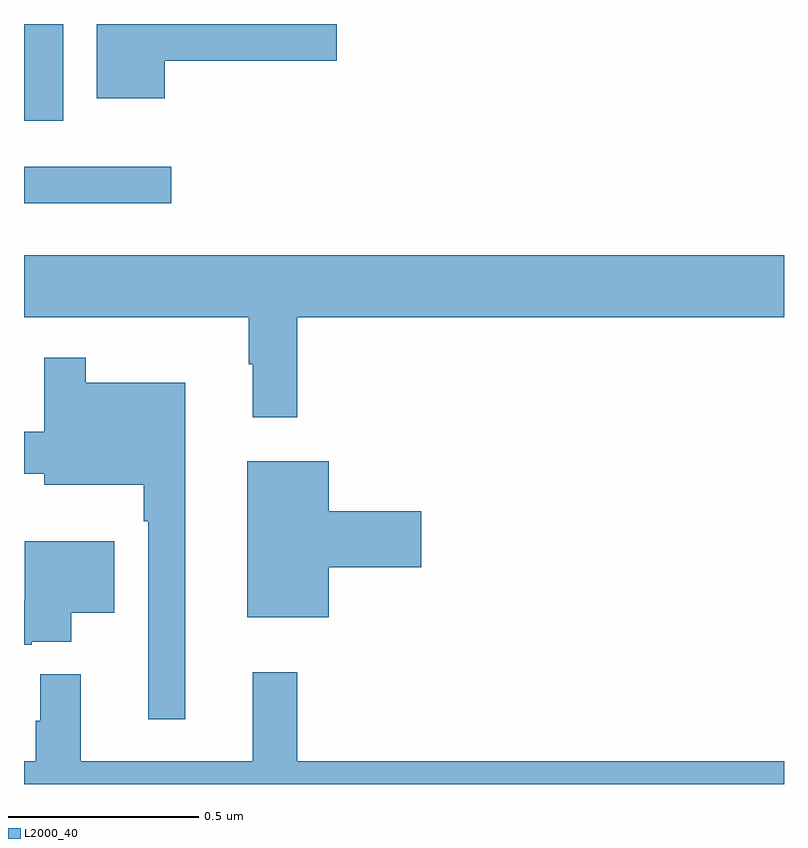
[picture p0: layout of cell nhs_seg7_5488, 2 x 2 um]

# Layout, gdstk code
import gdstk
lib = gdstk.Library(unit=1e-6, precision=1e-09)
def R(c, l, rs):  # rectangles x0, y0, x1, y1
    for r in rs: c.add(gdstk.rectangle(r[:2], r[2:], *l))
def P(c, l, *ps):  # polygons
    for p in ps: c.add(gdstk.Polygon(p, *l))
L2000_40 = (2000, 40)

nhs_seg7_5488 = lib.new_cell('nhs_seg7_5488')
R(nhs_seg7_5488, L2000_40, [(186,1055.528,186.388,1055.625), (186,1055.745,186.103,1056)])
P(nhs_seg7_5488, L2000_40, [(186.37,1055.903),(186.823,1055.903),(186.823,1056),(186.191,1056),(186.191,1055.804),(186.37,1055.804)],
  [(186,1055.228),(186.591,1055.228),(186.591,1055.105),(186.602,1055.105),(186.602,1054.965),(186.719,1054.965),(186.719,1055.228),(188,1055.228),(188,1055.392),(186,1055.392)],
  [(186.424,1055.056),(186.163,1055.056),(186.163,1055.122),(186.053,1055.122),(186.053,1054.927),(186,1054.927),(186,1054.817),(186.053,1054.817),(186.053,1054.787),(186.315,1054.787),(186.315,1054.691),(186.327,1054.691),(186.327,1054.17),(186.424,1054.17)],
  [(186.802,1054.571),(187.045,1054.571),(187.045,1054.718),(186.802,1054.718),(186.802,1054.849),(186.587,1054.849),(186.587,1054.439),(186.802,1054.439)],
  [(186.02,1054.374),(186.124,1054.374),(186.124,1054.451),(186.238,1054.451),(186.238,1054.639),(186.002,1054.639),(186.002,1054.483),(186,1054.483),(186,1054.367),(186.02,1054.367)],
  [(188,1054.06),(186.719,1054.06),(186.719,1054.294),(186.602,1054.294),(186.602,1054.06),(186.149,1054.06),(186.149,1054.289),(186.043,1054.289),(186.043,1054.167),(186.031,1054.167),(186.031,1054.06),(186,1054.06),(186,1054),(188,1054)])

lib.write_gds('nhs_seg7_5488.gds')
